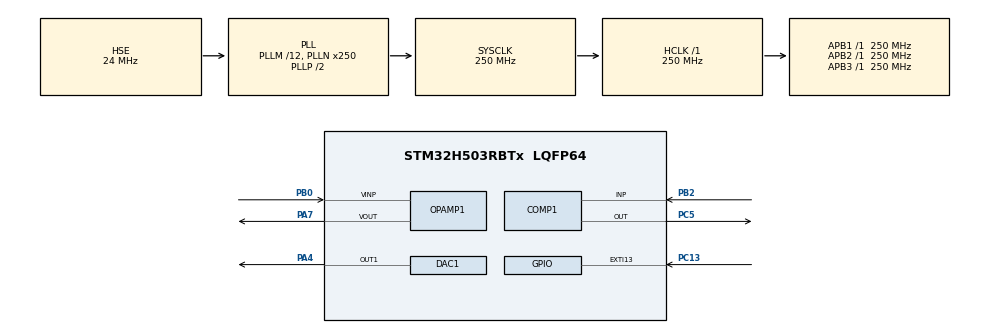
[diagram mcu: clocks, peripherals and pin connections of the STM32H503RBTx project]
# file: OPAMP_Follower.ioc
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COMP1.Hysteresis=COMP_HYSTERESIS_HIGH
DAC1.DAC1_OutputBuffer=DAC_OUTPUTBUFFER_ENABLE
DAC1.DAC_Channel-DAC_OUT1=DAC_CHANNEL_1
DAC1.DAC_HighFrequency=DAC_HIGH_FREQUENCY_INTERFACE_MODE_DISABLE
Mcu.Family=STM32H5
Mcu.Name=STM32H503RBTx
Mcu.Package=LQFP64
NVIC.EXTI13_IRQn=true\:0\:0\:false\:false\:true\:true\:true\:true
NVIC.PriorityGroup=NVIC_PRIORITYGROUP_4
PA4.Signal=COMP_DAC11_group
PA7.Mode=Follower
PA7.Signal=OPAMP1_VOUT
PB0.Mode=Follower
PB0.Signal=OPAMP1_VINP
PB2.Mode=INP
PB2.Signal=COMP1_INP
PC13.Signal=GPXTI13
PC5.GPIO_Speed=GPIO_SPEED_FREQ_VERY_HIGH
PC5.Mode=ExternalOutput
PC5.Signal=COMP1_OUT
PH0-OSC_IN(PH0).Mode=HSE-External-Oscillator
PH0-OSC_IN(PH0).Signal=RCC_OSC_IN
PH1-OSC_OUT(PH1).Mode=HSE-External-Oscillator
PH1-OSC_OUT(PH1).Signal=RCC_OSC_OUT
ProjectManager.HeapSize=0x200
ProjectManager.StackSize=0x400
ProjectManager.TargetToolchain=EWARM V9.20
RCC.ADCFreq_Value=250000000
RCC.AHBFreq_Value=250000000
RCC.APB1Freq_Value=250000000
RCC.APB1TimFreq_Value=250000000
RCC.APB2Freq_Value=250000000
RCC.APB2TimFreq_Value=250000000
RCC.APB3Freq_Value=250000000
RCC.CSI_VALUE=4000000
RCC.CortexFreq_Value=250000000
RCC.DACLowPowerCLockSelection=RCC_DACLPCLKSOURCE_LSI
RCC.EPOD_VALUE=24000000
RCC.HCLKFreq_Value=250000000
RCC.HSE_VALUE=24000000
RCC.HSI48_VALUE=48000000
RCC.HSIDiv=RCC_HSI_DIV1
RCC.HSI_VALUE=64000000
RCC.LSE_VALUE=32768
RCC.LSIRC_VALUE=32000
RCC.PLLM=12
RCC.PLLN=250
RCC.PLLSourceVirtual=RCC_PLL1_SOURCE_HSE
RCC.SYSCLKFreq_VALUE=250000000
RCC.SYSCLKSource=RCC_SYSCLKSOURCE_PLLCLK
RCC.USBFreq_Value=48000000
RCC.VCOOutputFreq_Value=500000000
SH.COMP_DAC11_group.0=DAC1_OUT1,DAC_OUT1
VP_COMP1_VS_VREFINT.Mode=VREFINT
VP_ICACHE_VS_ICACHE.Mode=DefaultMode
VP_PWR_VS_SECSignals.Mode=Security/Privilege
board=custom

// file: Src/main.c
/* USER CODE BEGIN Header */
/**
  ******************************************************************************
  * @file           : main.c
  * @brief          : Main program body
  ******************************************************************************
  * @attention
  *
  * Copyright (c) 2023 STMicroelectronics.
  * All rights reserved.
  *
  * This software is licensed under terms that can be found in the LICENSE file
  * in the root directory of this software component.
  * If no LICENSE file comes with this software, it is provided AS-IS.
  *
  ******************************************************************************
  */
/* USER CODE END Header */
#include "main.h"

COMP_HandleTypeDef hcomp1;

DAC_HandleTypeDef hdac1;

OPAMP_HandleTypeDef hopamp1;

void SystemClock_Config(void);
static void MX_GPIO_Init(void);
static void MX_DAC1_Init(void);
static void MX_COMP1_Init(void);
static void MX_OPAMP1_Init(void);
/* USER CODE BEGIN PFP */
void OPAMP_Config_Power(void);
__IO uint32_t UserButtonStatus = 0;
/* USER CODE END PFP */

int main(void)
{

  /* USER CODE BEGIN 1 */
  /* STM32H5xx HAL library initialization:
       - Systick timer is configured by default as source of time base, but user
             can eventually implement his proper time base source (a general purpose
             timer for example or other time source), keeping in mind that Time base
             duration should be kept 1ms since PPP_TIMEOUT_VALUEs are defined and
             handled in milliseconds basis.
       - Set NVIC Group Priority to 4
       - Low Level Initialization
     */
  /* USER CODE END 1 */

  /* MCU Configuration--------------------------------------------------------*/

  /* Reset of all peripherals, Initializes the Flash interface and the Systick. */
  HAL_Init();

  /* USER CODE BEGIN Init */
  uint32_t examplestate = 0;
  /* USER CODE END Init */

  /* Configure the system clock */
  SystemClock_Config();

  /* Initialize all configured peripherals */
  MX_GPIO_Init();
  MX_DAC1_Init();
  MX_COMP1_Init();
  /* USER CODE BEGIN 2 */
/* Initialize LEDs on board */
  BSP_LED_Init(LED2);
  /* USER CODE END 2 */

  /* Infinite loop */
  /* USER CODE BEGIN WHILE */
  while (1)
  {
    /* Test if an action occurred on the User button */
    if (UserButtonStatus == 1)
    {
      UserButtonStatus = 0;
      /* Change the mode */
      if (examplestate == 0)
      {
        /* Turn LED2 on */
        BSP_LED_On(LED2);
        /* normal mode */
        MX_OPAMP1_Init();
        examplestate= 1;
      }
      else
      {
        /* Turn LED2 off */
        BSP_LED_Off(LED2);
        /* Low power mode */
        OPAMP_Config_Power();
        examplestate= 0;
      }
    }
    /* USER CODE END WHILE */

  }
}

void SystemClock_Config(void)
{
  RCC_OscInitTypeDef RCC_OscInitStruct = {0};
  RCC_ClkInitTypeDef RCC_ClkInitStruct = {0};

  /** Configure the main internal regulator output voltage
  */
  __HAL_PWR_VOLTAGESCALING_CONFIG(PWR_REGULATOR_VOLTAGE_SCALE0);

  while(!__HAL_PWR_GET_FLAG(PWR_FLAG_VOSRDY)) {}

  /** Initializes the RCC Oscillators according to the specified parameters
  * in the RCC_OscInitTypeDef structure.
  */
  RCC_OscInitStruct.OscillatorType = RCC_OSCILLATORTYPE_LSI|RCC_OSCILLATORTYPE_HSE;
  RCC_OscInitStruct.HSEState = RCC_HSE_ON;
  RCC_OscInitStruct.LSIState = RCC_LSI_ON;
  RCC_OscInitStruct.PLL.PLLState = RCC_PLL_ON;
  RCC_OscInitStruct.PLL.PLLSource = RCC_PLL1_SOURCE_HSE;
  RCC_OscInitStruct.PLL.PLLM = 12;
  RCC_OscInitStruct.PLL.PLLN = 250;
  RCC_OscInitStruct.PLL.PLLP = 2;
  RCC_OscInitStruct.PLL.PLLQ = 2;
  RCC_OscInitStruct.PLL.PLLR = 2;
  RCC_OscInitStruct.PLL.PLLRGE = RCC_PLL1_VCIRANGE_1;
  RCC_OscInitStruct.PLL.PLLVCOSEL = RCC_PLL1_VCORANGE_WIDE;
  RCC_OscInitStruct.PLL.PLLFRACN = 0;
  if (HAL_RCC_OscConfig(&RCC_OscInitStruct) != HAL_OK)
  {
    Error_Handler();
  }

  /** Initializes the CPU, AHB and APB buses clocks
  */
  RCC_ClkInitStruct.ClockType = RCC_CLOCKTYPE_HCLK|RCC_CLOCKTYPE_SYSCLK
                              |RCC_CLOCKTYPE_PCLK1|RCC_CLOCKTYPE_PCLK2
                              |RCC_CLOCKTYPE_PCLK3;
  RCC_ClkInitStruct.SYSCLKSource = RCC_SYSCLKSOURCE_PLLCLK;
  RCC_ClkInitStruct.AHBCLKDivider = RCC_SYSCLK_DIV1;
  RCC_ClkInitStruct.APB1CLKDivider = RCC_HCLK_DIV1;
  RCC_ClkInitStruct.APB2CLKDivider = RCC_HCLK_DIV1;
  RCC_ClkInitStruct.APB3CLKDivider = RCC_HCLK_DIV1;

  if (HAL_RCC_ClockConfig(&RCC_ClkInitStruct, FLASH_LATENCY_5) != HAL_OK)
  {
    Error_Handler();
  }

  /** Configure the programming delay
  */
  __HAL_FLASH_SET_PROGRAM_DELAY(FLASH_PROGRAMMING_DELAY_2);
}

static void MX_COMP1_Init(void)
{

  hcomp1.Instance = COMP1;
  hcomp1.Init.InputMinus = COMP_INPUT_MINUS_VREFINT;
  hcomp1.Init.OutputPol = COMP_OUTPUTPOL_NONINVERTED;
  hcomp1.Init.Hysteresis = COMP_HYSTERESIS_HIGH;
  hcomp1.Init.BlankingSrce = COMP_BLANKINGSRC_NONE;
  hcomp1.Init.Mode = COMP_POWERMODE_HIGHSPEED;
  hcomp1.Init.TriggerMode = COMP_TRIGGERMODE_NONE;
  if (HAL_COMP_Init(&hcomp1) != HAL_OK)
  {
    Error_Handler();
  }
  /* USER CODE BEGIN COMP1_Init 2 */
  if (HAL_COMP_Start(&hcomp1) != HAL_OK)
  {
    /* Initialization Error */
    Error_Handler();
  }
  /* USER CODE END COMP1_Init 2 */

}

static void MX_DAC1_Init(void)
{

  DAC_ChannelConfTypeDef sConfig = {0};

  /** DAC Initialization
  */
  hdac1.Instance = DAC1;
  if (HAL_DAC_Init(&hdac1) != HAL_OK)
  {
    Error_Handler();
  }

  /** DAC channel OUT1 config
  */
  sConfig.DAC_HighFrequency = DAC_HIGH_FREQUENCY_INTERFACE_MODE_DISABLE;
  sConfig.DAC_DMADoubleDataMode = DISABLE;
  sConfig.DAC_SignedFormat = DISABLE;
  sConfig.DAC_SampleAndHold = DAC_SAMPLEANDHOLD_DISABLE;
  sConfig.DAC_Trigger = DAC_TRIGGER_NONE;
  sConfig.DAC_OutputBuffer = DAC_OUTPUTBUFFER_ENABLE;
  sConfig.DAC_ConnectOnChipPeripheral = DAC_CHIPCONNECT_EXTERNAL;
  sConfig.DAC_UserTrimming = DAC_TRIMMING_FACTORY;
  if (HAL_DAC_ConfigChannel(&hdac1, &sConfig, DAC_CHANNEL_1) != HAL_OK)
  {
    Error_Handler();
  }
  /* USER CODE BEGIN DAC1_Init 2 */
  /* Set DAC output voltage */
  HAL_DAC_SetValue(&hdac1, DAC_CHANNEL_1, DAC_ALIGN_8B_R,0x7F);

  /* Enable DAC Channel 1 */
  if(HAL_DAC_Start(&hdac1, DAC_CHANNEL_1) != HAL_OK)
  {
    Error_Handler();
  }
  /* USER CODE END DAC1_Init 2 */

}

static void MX_OPAMP1_Init(void)
{

  hopamp1.Instance = OPAMP1;
  hopamp1.Init.Mode = OPAMP_FOLLOWER_MODE;
  hopamp1.Init.NonInvertingInput = OPAMP_NONINVERTINGINPUT_IO0;
  hopamp1.Init.InvertingInput = OPAMP_INVERTINGINPUT_CONNECT_NO;
  hopamp1.Init.PowerMode = OPAMP_POWERMODE_NORMAL;
  hopamp1.Init.UserTrimming = OPAMP_TRIMMING_FACTORY;
  if (HAL_OPAMP_Init(&hopamp1) != HAL_OK)
  {
    Error_Handler();
  }

}

static void MX_GPIO_Init(void)
{
  GPIO_InitTypeDef GPIO_InitStruct = {0};

  /* GPIO Ports Clock Enable */
  __HAL_RCC_GPIOC_CLK_ENABLE();
  __HAL_RCC_GPIOH_CLK_ENABLE();
  __HAL_RCC_GPIOA_CLK_ENABLE();
  __HAL_RCC_GPIOB_CLK_ENABLE();

  /*Configure GPIO pin : PC13 */
  GPIO_InitStruct.Pin = GPIO_PIN_13;
  GPIO_InitStruct.Mode = GPIO_MODE_IT_RISING;
  GPIO_InitStruct.Pull = GPIO_NOPULL;
  HAL_GPIO_Init(GPIOC, &GPIO_InitStruct);

  /* EXTI interrupt init*/
  HAL_NVIC_SetPriority(EXTI13_IRQn, 0, 0);
  HAL_NVIC_EnableIRQ(EXTI13_IRQn);

}

/* USER CODE BEGIN 4 */
/**
  * @brief  OPAMP Configuration
  * @param  None
  * @retval None
  */
void OPAMP_Config_Power(void)
{
  /* Set OPAMP instance */
  hopamp1.Instance = OPAMP1;

  /*##-1- Deinit  OPAMP    ##################################################*/
  HAL_OPAMP_DeInit(&hopamp1);

  /*##-2- Configure OPAMP    ##################################################*/

  /* Select power mode */
  hopamp1.Init.PowerMode = OPAMP_POWERMODE_HIGHSPEED;

  /* Select FOLLOWER Mode */
  hopamp1.Init.Mode = OPAMP_FOLLOWER_MODE;

  /* Select VPx as input for OPAMP */
  hopamp1.Init.NonInvertingInput = OPAMP_NONINVERTINGINPUT_DAC_CH;

  /* Select the factory trimming */
  hopamp1.Init.UserTrimming = OPAMP_TRIMMING_FACTORY;

  /* Init */
  if(HAL_OK != HAL_OPAMP_Init(&hopamp1))
  {
    Error_Handler();
  }

  /*##-3- Start OPAMP    #####################################################*/
  /* Enable OPAMP */
  if(HAL_OK != HAL_OPAMP_Start(&hopamp1))
  {
    Error_Handler();
  }
}
 void HAL_GPIO_EXTI_Rising_Callback(uint16_t GPIO_Pin)
{
  /* Prevent unused argument(s) compilation warning */
UserButtonStatus = 1;

  /* NOTE: This function should not be modified, when the callback is needed,
           the HAL_GPIO_EXTI_Rising_Callback could be implemented in the user file
   */
}
/* USER CODE END 4 */

void Error_Handler(void)
{
  /* USER CODE BEGIN Error_Handler_Debug */
  /* Toggle LED2 */
  BSP_LED_Toggle(LED2);
  HAL_Delay(1000);
  __disable_irq();
  while (1)
  {
  }
  /* USER CODE END Error_Handler_Debug */
}
